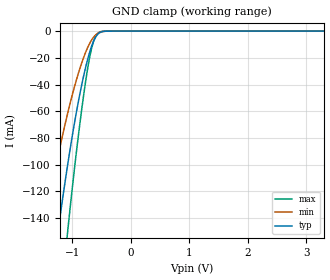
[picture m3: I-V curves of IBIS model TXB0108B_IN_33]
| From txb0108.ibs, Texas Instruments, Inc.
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[Model]   TXB0108B_IN_33
Model_type  Input
Vinl=1.05
Vinh=2.34
| variable   typ   min   max
C_comp   5.58pF   4.81pF   6.30pF
[Temperature Range]   40   100   -40
| Ambient temperature   25   85   -40
[Voltage range]   3.3   3   3.6
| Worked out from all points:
|   GND clamp passes 1 mA (typ) near -0.52 V on its own axis
[GND Clamp]
| TXB0108B_IN_33
|   Voltage   I(typ)   I(min)   I(max)
-3.3V     -1.024A    -735.1mA   -1.34A
-1.49V    -235.9mA   -151.2mA   -343.7mA
-1.24V    -149.6mA   -93.62mA   -222.6mA
-1.08V    -101mA     -62.11mA   -151.4mA
-1.065V   -96.75mA   -59.4mA    -145.1mA
-885mV    -50.82mA   -30.43mA   -75.17mA
-740mV    -21.99mA   -12.85mA   -29.4mA
-685mV    -13.63mA   -7.997mA   -16.36mA
-640mV    -8.19mA    -4.94mA    -8.566mA
-585mV    -3.602mA   -2.365mA   -2.946mA
-530mV    -1.24mA    -934.9uA   -737.7uA
3.3V      364.3pA    1.497nA    29.93pA
